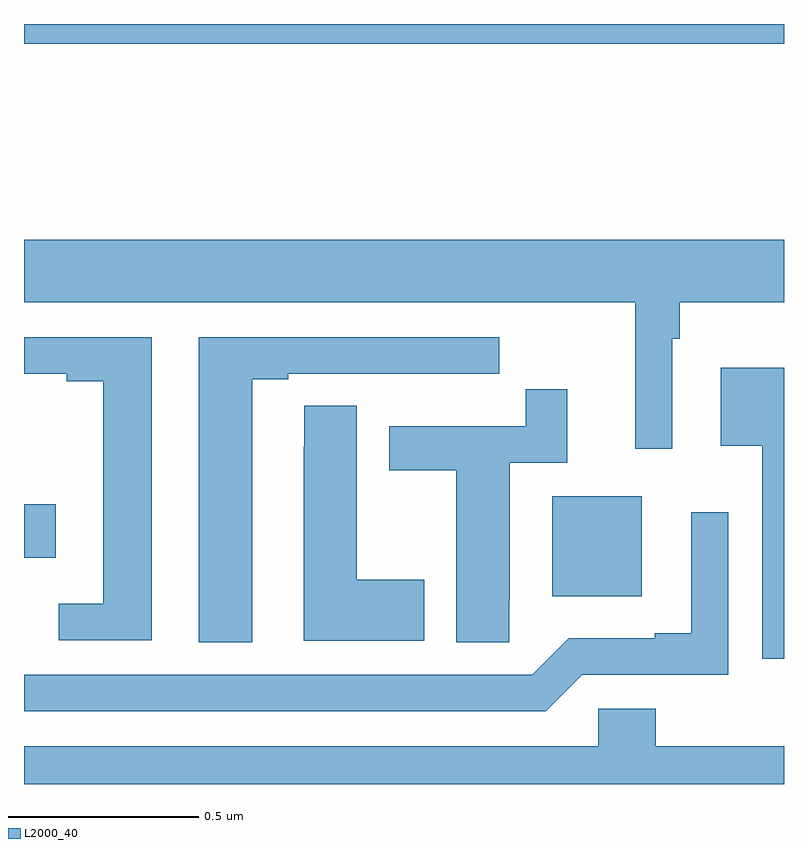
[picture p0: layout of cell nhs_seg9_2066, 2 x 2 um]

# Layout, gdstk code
import gdstk
lib = gdstk.Library(unit=1e-6, precision=1e-09)
def R(c, l, rs):  # rectangles x0, y0, x1, y1
    for r in rs: c.add(gdstk.rectangle(r[:2], r[2:], *l))
def P(c, l, *ps):  # polygons
    for p in ps: c.add(gdstk.Polygon(p, *l))
L2000_40 = (2000, 40)

nhs_seg9_2066 = lib.new_cell('nhs_seg9_2066')
R(nhs_seg9_2066, L2000_40, [(137.39,1180.994,137.626,1181.257), (136,1181.096,136.084,1181.236), (136,1182.448,138,1182.5)])
P(nhs_seg9_2066, L2000_40, [(137.706,1181.672),(137.726,1181.672),(137.726,1181.768),(138,1181.768),(138,1181.932),(136,1181.932),(136,1181.768),(137.609,1181.768),(137.609,1181.382),(137.706,1181.382)],
  [(136.6,1181.565),(136.696,1181.565),(136.696,1181.58),(136.972,1181.58),(136.972,1181.579),(137.138,1181.579),(137.138,1181.58),(137.251,1181.58),(137.251,1181.676),(136.46,1181.676),(136.46,1180.873),(136.6,1180.873)],
  [(136.336,1181.676),(136,1181.676),(136,1181.58),(136.112,1181.58),(136.112,1181.56),(136.208,1181.56),(136.208,1180.974),(136.092,1180.974),(136.092,1180.878),(136.336,1180.878)],
  [(138,1181.596),(137.834,1181.596),(137.834,1181.39),(137.943,1181.39),(137.943,1180.83),(138,1180.83)],
  [(137.277,1180.984),(137.278,1180.984),(137.278,1181.346),(137.429,1181.346),(137.429,1181.539),(137.32,1181.539),(137.32,1181.442),(136.961,1181.442),(136.961,1181.326),(137.138,1181.326),(137.138,1180.873),(137.277,1180.873)],
  [(137.053,1181.037),(136.876,1181.037),(136.876,1181.495),(136.737,1181.495),(136.737,1181.387),(136.736,1181.387),(136.736,1180.877),(137.053,1180.877)],
  [(137.469,1180.788),(137.853,1180.788),(137.853,1181.215),(137.756,1181.215),(137.756,1180.897),(137.66,1180.897),(137.66,1180.884),(137.433,1180.884),(137.337,1180.788),(136,1180.788),(136,1180.692),(137.373,1180.692)],
  [(138,1180.6),(137.663,1180.6),(137.663,1180.698),(137.511,1180.698),(137.511,1180.6),(136,1180.6),(136,1180.5),(138,1180.5)])

lib.write_gds('nhs_seg9_2066.gds')
